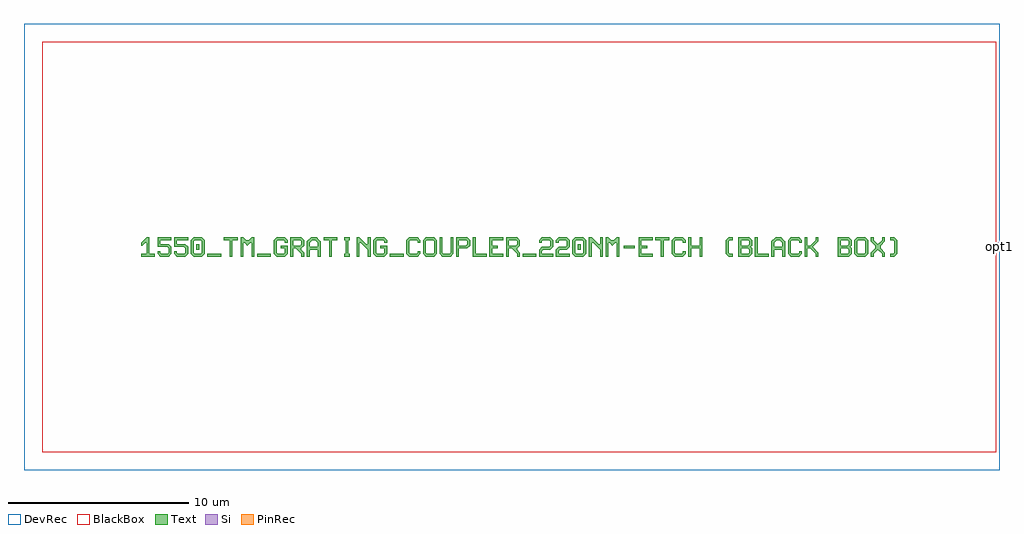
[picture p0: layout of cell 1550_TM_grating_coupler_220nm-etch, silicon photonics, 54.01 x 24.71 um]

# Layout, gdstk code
import gdstk
lib = gdstk.Library(unit=1e-6, precision=1e-09)
def R(c, l, rs):  # rectangles x0, y0, x1, y1
    for r in rs: c.add(gdstk.rectangle(r[:2], r[2:], *l))
def A(c, l, x, y, w, h, nx, ny, dx, dy):  # array of equal rectangles
    R(c, l, [(x+i*dx, y+j*dy, x+i*dx+w, y+j*dy+h) for i in range(nx) for j in range(ny)])
def P(c, l, *ps):  # polygons
    for p in ps: c.add(gdstk.Polygon(p, *l))
Si = (1, 0)
PinRec = (1, 10)
Text = (10, 0)
DevRec = (68, 0)
BlackBox = (998, 0)

text = lib.new_cell('TEXT')
A(text, Text, 6.426, 0, 0.765, 0.153, 3, 1, 7.344, 0)
R(text, Text, [(3.672,0,4.437,0.153), (3.06,0.383,3.213,0.689), (24.174,0.383,24.327,0.689), (26.699,0.459,27.311,0.612)])
P(text, Text, [(0,0),(0,0.153),(0.306,0.153),(0.306,0.765),(0.23,0.765),(0.077,0.612),(0,0.612),(0,0.765),(0.306,1.071),(0.459,1.071),(0.459,0.153),(0.765,0.153),(0.765,0)],
  [(1.071,0),(0.918,0.153),(0.918,0.306),(1.071,0.306),(1.071,0.23),(1.148,0.153),(1.454,0.153),(1.53,0.23),(1.53,0.459),(1.454,0.536),(0.918,0.536),(0.918,1.071),(1.683,1.071),(1.683,0.918),(1.071,0.918),(1.071,0.689),(1.53,0.689),(1.683,0.536),(1.683,0.153),(1.53,0)],
  [(1.989,0),(1.836,0.153),(1.836,0.306),(1.989,0.306),(1.989,0.23),(2.066,0.153),(2.372,0.153),(2.448,0.23),(2.448,0.459),(2.372,0.536),(1.836,0.536),(1.836,1.071),(2.601,1.071),(2.601,0.918),(1.989,0.918),(1.989,0.689),(2.448,0.689),(2.601,0.536),(2.601,0.153),(2.448,0)],
  [(2.907,0),(2.754,0.153),(2.754,0.918),(2.907,1.071),(3.366,1.071),(3.519,0.918),(2.984,0.918),(2.907,0.842),(2.907,0.23),(2.984,0.153),(3.29,0.153),(3.366,0.23),(3.366,0.842),(3.29,0.918),(3.519,0.918),(3.519,0.153),(3.366,0)],
  [(4.896,0),(4.896,0.918),(4.59,0.918),(4.59,1.071),(5.355,1.071),(5.355,0.918),(5.049,0.918),(5.049,0)],
  [(5.508,0),(5.508,1.071),(5.661,1.071),(5.814,0.918),(5.967,0.918),(6.12,1.071),(6.273,1.071),(6.273,0),(6.12,0),(6.12,0.765),(6.044,0.765),(5.891,0.612),(5.738,0.765),(5.661,0.765),(5.661,0)],
  [(7.497,0),(7.344,0.153),(7.344,0.918),(7.497,1.071),(7.956,1.071),(8.109,0.918),(8.109,0.765),(7.956,0.765),(7.956,0.842),(7.88,0.918),(7.574,0.918),(7.497,0.842),(7.497,0.23),(7.574,0.153),(7.88,0.153),(7.956,0.23),(7.956,0.459),(7.727,0.459),(7.727,0.612),(8.109,0.612),(8.109,0.153),(7.956,0)],
  [(8.262,0),(8.262,1.071),(8.874,1.071),(9.027,0.918),(8.415,0.918),(8.415,0.612),(8.798,0.612),(8.874,0.689),(8.874,0.842),(8.798,0.918),(9.027,0.918),(9.027,0.612),(8.874,0.459),(8.874,0.383),(9.027,0.23),(9.027,0),(8.874,0),(8.874,0.153),(8.568,0.459),(8.415,0.459),(8.415,0)],
  [(9.18,0),(9.18,0.842),(9.41,1.071),(9.716,1.071),(9.869,0.918),(9.486,0.918),(9.333,0.765),(9.333,0.536),(9.792,0.536),(9.792,0.765),(9.639,0.918),(9.869,0.918),(9.945,0.842),(9.945,0),(9.792,0),(9.792,0.383),(9.333,0.383),(9.333,0)],
  [(10.404,0),(10.404,0.918),(10.098,0.918),(10.098,1.071),(10.863,1.071),(10.863,0.918),(10.557,0.918),(10.557,0)],
  [(11.246,0),(11.246,0.153),(11.322,0.153),(11.322,0.918),(11.246,0.918),(11.246,1.071),(11.552,1.071),(11.552,0.918),(11.475,0.918),(11.475,0.153),(11.552,0.153),(11.552,0)],
  [(11.934,0),(11.934,1.071),(12.087,1.071),(12.47,0.689),(12.546,0.689),(12.546,1.071),(12.699,1.071),(12.699,0),(12.546,0),(12.546,0.383),(12.164,0.765),(12.087,0.765),(12.087,0)],
  [(13.005,0),(12.852,0.153),(12.852,0.918),(13.005,1.071),(13.464,1.071),(13.617,0.918),(13.617,0.765),(13.464,0.765),(13.464,0.842),(13.388,0.918),(13.082,0.918),(13.005,0.842),(13.005,0.23),(13.082,0.153),(13.388,0.153),(13.464,0.23),(13.464,0.459),(13.235,0.459),(13.235,0.612),(13.617,0.612),(13.617,0.153),(13.464,0)],
  [(14.841,0),(14.688,0.153),(14.688,0.918),(14.841,1.071),(15.3,1.071),(15.453,0.918),(15.453,0.765),(15.3,0.765),(15.3,0.842),(15.224,0.918),(14.918,0.918),(14.841,0.842),(14.841,0.23),(14.918,0.153),(15.224,0.153),(15.3,0.23),(15.3,0.306),(15.453,0.306),(15.453,0.153),(15.3,0)],
  [(15.759,0),(15.606,0.153),(15.606,0.918),(15.759,1.071),(16.218,1.071),(16.371,0.918),(16.371,0.536),(16.218,0.536),(16.218,0.842),(16.142,0.918),(15.836,0.918),(15.759,0.842),(15.759,0.23),(15.836,0.153),(16.142,0.153),(16.218,0.23),(16.218,0.536),(16.371,0.536),(16.371,0.153),(16.218,0)],
  [(16.677,0),(16.524,0.153),(16.524,1.071),(16.677,1.071),(16.677,0.23),(16.754,0.153),(17.06,0.153),(17.136,0.23),(17.136,1.071),(17.289,1.071),(17.289,0.153),(17.136,0)],
  [(17.442,0),(17.442,1.071),(18.054,1.071),(18.207,0.918),(18.207,0.612),(18.054,0.459),(17.595,0.459),(17.595,0.612),(17.978,0.612),(18.054,0.689),(18.054,0.842),(17.978,0.918),(17.595,0.918),(17.595,0)],
  [(18.36,0),(18.36,1.071),(18.513,1.071),(18.513,0.153),(19.125,0.153),(19.125,0)],
  [(19.278,0),(19.278,1.071),(20.043,1.071),(20.043,0.918),(19.431,0.918),(19.431,0.612),(19.737,0.612),(19.737,0.459),(19.431,0.459),(19.431,0.153),(20.043,0.153),(20.043,0)],
  [(20.196,0),(20.196,1.071),(20.808,1.071),(20.961,0.918),(20.349,0.918),(20.349,0.612),(20.732,0.612),(20.808,0.689),(20.808,0.842),(20.732,0.918),(20.961,0.918),(20.961,0.612),(20.808,0.459),(20.808,0.383),(20.961,0.23),(20.961,0),(20.808,0),(20.808,0.153),(20.502,0.459),(20.349,0.459),(20.349,0)],
  [(22.032,0),(22.032,0.383),(22.185,0.536),(22.568,0.536),(22.644,0.612),(22.644,0.842),(22.568,0.918),(22.262,0.918),(22.185,0.842),(22.185,0.765),(22.032,0.765),(22.032,0.918),(22.185,1.071),(22.644,1.071),(22.797,0.918),(22.797,0.536),(22.644,0.383),(22.262,0.383),(22.185,0.306),(22.185,0.153),(22.797,0.153),(22.797,0)],
  [(22.95,0),(22.95,0.383),(23.103,0.536),(23.486,0.536),(23.562,0.612),(23.562,0.842),(23.486,0.918),(23.18,0.918),(23.103,0.842),(23.103,0.765),(22.95,0.765),(22.95,0.918),(23.103,1.071),(23.562,1.071),(23.715,0.918),(23.715,0.536),(23.562,0.383),(23.18,0.383),(23.103,0.306),(23.103,0.153),(23.715,0.153),(23.715,0)],
  [(24.021,0),(23.868,0.153),(23.868,0.918),(24.021,1.071),(24.48,1.071),(24.633,0.918),(24.098,0.918),(24.021,0.842),(24.021,0.23),(24.098,0.153),(24.404,0.153),(24.48,0.23),(24.48,0.842),(24.404,0.918),(24.633,0.918),(24.633,0.153),(24.48,0)],
  [(24.786,0),(24.786,1.071),(24.939,1.071),(25.322,0.689),(25.398,0.689),(25.398,1.071),(25.551,1.071),(25.551,0),(25.398,0),(25.398,0.383),(25.016,0.765),(24.939,0.765),(24.939,0)],
  [(25.704,0),(25.704,1.071),(25.857,1.071),(26.01,0.918),(26.163,0.918),(26.316,1.071),(26.469,1.071),(26.469,0),(26.316,0),(26.316,0.765),(26.24,0.765),(26.087,0.612),(25.934,0.765),(25.857,0.765),(25.857,0)],
  [(27.54,0),(27.54,1.071),(28.305,1.071),(28.305,0.918),(27.693,0.918),(27.693,0.612),(27.999,0.612),(27.999,0.459),(27.693,0.459),(27.693,0.153),(28.305,0.153),(28.305,0)],
  [(28.764,0),(28.764,0.918),(28.458,0.918),(28.458,1.071),(29.223,1.071),(29.223,0.918),(28.917,0.918),(28.917,0)],
  [(29.529,0),(29.376,0.153),(29.376,0.918),(29.529,1.071),(29.988,1.071),(30.141,0.918),(30.141,0.765),(29.988,0.765),(29.988,0.842),(29.912,0.918),(29.606,0.918),(29.529,0.842),(29.529,0.23),(29.606,0.153),(29.912,0.153),(29.988,0.23),(29.988,0.306),(30.141,0.306),(30.141,0.153),(29.988,0)],
  [(30.294,0),(30.294,1.071),(30.447,1.071),(30.447,0.612),(30.906,0.612),(30.906,1.071),(31.059,1.071),(31.059,0),(30.906,0),(30.906,0.459),(30.447,0.459),(30.447,0)],
  [(32.513,0),(32.36,0.153),(32.36,0.918),(32.513,1.071),(32.742,1.071),(32.742,0.918),(32.589,0.918),(32.513,0.842),(32.513,0.23),(32.589,0.153),(32.742,0.153),(32.742,0)],
  [(33.048,0),(33.048,1.071),(33.66,1.071),(33.813,0.918),(33.201,0.918),(33.201,0.612),(33.584,0.612),(33.66,0.689),(33.66,0.842),(33.584,0.918),(33.813,0.918),(33.813,0.612),(33.737,0.536),(33.813,0.459),(33.201,0.459),(33.201,0.153),(33.584,0.153),(33.66,0.23),(33.66,0.383),(33.584,0.459),(33.813,0.459),(33.813,0.153),(33.66,0)],
  [(33.966,0),(33.966,1.071),(34.119,1.071),(34.119,0.153),(34.731,0.153),(34.731,0)],
  [(34.884,0),(34.884,0.842),(35.114,1.071),(35.42,1.071),(35.573,0.918),(35.19,0.918),(35.037,0.765),(35.037,0.536),(35.496,0.536),(35.496,0.765),(35.343,0.918),(35.573,0.918),(35.649,0.842),(35.649,0),(35.496,0),(35.496,0.383),(35.037,0.383),(35.037,0)],
  [(35.955,0),(35.802,0.153),(35.802,0.918),(35.955,1.071),(36.414,1.071),(36.567,0.918),(36.567,0.765),(36.414,0.765),(36.414,0.842),(36.338,0.918),(36.032,0.918),(35.955,0.842),(35.955,0.23),(36.032,0.153),(36.338,0.153),(36.414,0.23),(36.414,0.306),(36.567,0.306),(36.567,0.153),(36.414,0)],
  [(36.72,0),(36.72,1.071),(36.873,1.071),(36.873,0.612),(37.026,0.612),(37.332,0.918),(37.332,1.071),(37.485,1.071),(37.485,0.842),(37.179,0.536),(37.485,0.23),(37.485,0),(37.332,0),(37.332,0.153),(37.026,0.459),(36.873,0.459),(36.873,0)],
  [(38.556,0),(38.556,1.071),(39.168,1.071),(39.321,0.918),(38.709,0.918),(38.709,0.612),(39.092,0.612),(39.168,0.689),(39.168,0.842),(39.092,0.918),(39.321,0.918),(39.321,0.612),(39.245,0.536),(39.321,0.459),(38.709,0.459),(38.709,0.153),(39.092,0.153),(39.168,0.23),(39.168,0.383),(39.092,0.459),(39.321,0.459),(39.321,0.153),(39.168,0)],
  [(39.627,0),(39.474,0.153),(39.474,0.918),(39.627,1.071),(40.086,1.071),(40.239,0.918),(40.239,0.536),(40.086,0.536),(40.086,0.842),(40.01,0.918),(39.704,0.918),(39.627,0.842),(39.627,0.23),(39.704,0.153),(40.01,0.153),(40.086,0.23),(40.086,0.536),(40.239,0.536),(40.239,0.153),(40.086,0)],
  [(40.392,0),(40.392,0.23),(40.622,0.459),(40.622,0.612),(40.392,0.842),(40.392,1.071),(40.545,1.071),(40.545,0.918),(40.775,0.689),(41.004,0.918),(41.004,1.071),(41.157,1.071),(41.157,0.842),(40.928,0.612),(40.928,0.459),(41.157,0.23),(41.157,0),(41.004,0),(41.004,0.153),(40.775,0.383),(40.545,0.153),(40.545,0)],
  [(41.463,0),(41.463,0.153),(41.616,0.153),(41.693,0.23),(41.693,0.842),(41.616,0.918),(41.463,0.918),(41.463,1.071),(41.693,1.071),(41.846,0.918),(41.846,0.153),(41.693,0)])

c_1550_tm_grating_coupler_ = lib.new_cell('1550_TM_grating_coupler_220nm-etch')
R(c_1550_tm_grating_coupler_, Si, [(26.3,-0.25,26.5,0.25)])
R(c_1550_tm_grating_coupler_, DevRec, [(-27.5,-12.357,26.5,12.357)])
R(c_1550_tm_grating_coupler_, BlackBox, [(-26.5,-11.357,26.3,11.357)])
c_1550_tm_grating_coupler_.add(gdstk.FlexPath([(26.49,0),(26.51,0)], 0.5, ends="flush", simple_path=True, layer=1, datatype=10))  # PinRec
c_1550_tm_grating_coupler_.add(gdstk.Reference(text, (-21.023,-0.535)))
c_1550_tm_grating_coupler_.add(gdstk.Label('opt1', (26.5,0), layer=1, texttype=10))

lib.write_gds('1550_TM_grating_coupler_220nm-etch.gds')
